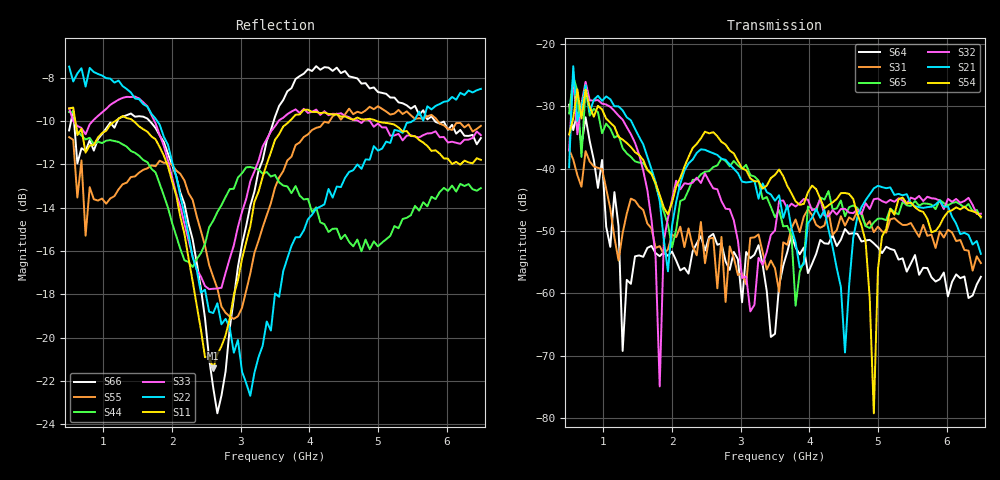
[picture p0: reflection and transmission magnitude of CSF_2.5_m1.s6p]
!Keysight Technologies,M9804A,MY58100912,A.14.10.03
!Date: Thursday, April 27, 2023 10:28:33
!Correction: S11(C  6-Port  )
!S12(C  6-Port  )
!S13(C  6-Port  )
!S14(C  6-Port  )
!S15(C  6-Port  )
!S16(C  6-Port  )
!S21(C  6-Port  )
!S22(C  6-Port  )
!S23(C  6-Port  )
!S24(C  6-Port  )
!S25(C  6-Port  )
!S26(C  6-Port  )
!S31(C  6-Port  )
!S32(C  6-Port  )
!S33(C  6-Port  )
!S34(C  6-Port  )
!S35(C  6-Port  )
!S36(C  6-Port  )
!S41(C  6-Port  )
!S42(C  6-Port  )
!S43(C  6-Port  )
!S44(C  6-Port  )
!S45(C  6-Port  )
!S46(C  6-Port  )
!S51(C  6-Port  )
!S52(C  6-Port  )
!S53(C  6-Port  )
!S54(C  6-Port  )
!S55(C  6-Port  )
!S56(C  6-Port  )
!S61(C  6-Port  )
!S62(C  6-Port  )
!S63(C  6-Port  )
!S64(C  6-Port  )
!S65(C  6-Port  )
!S66(C  6-Port  )
!S6P File: Measurement: :
# Hz S  RI  R 50
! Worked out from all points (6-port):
!   101 points, 500 MHz to 6.5 GHz, reference 50 ohm
!   strongest paths, dB at 500 MHz, 2 GHz, 3.5 GHz, 5 GHz, 6.5 GHz:
!     S54: -34.5, -45.4, -41.0, -56.1, -47.7
!     S21: -39.8, -49.1, -45.1, -42.8, -53.7
!     S32: -37.1, -44.9, -49.9, -44.8, -47.2
!     S65: -31.1, -52.6, -47.8, -48.0, -47.9
!     S31: -36.9, -50.6, -56.0, -49.3, -55.1
!     S64: -29.8, -53.3, -66.5, -52.6, -57.3
!   lowest |S11| = -21.4 dB at 2.6 GHz (marker M1), VSWR 1.19, Z = 42.5 + j2.22 ohm
!   |S11| at or under -10 dB: 589.4 MHz to 1.174 GHz (584.3 MHz wide, 66.3 % of centre); 1.436 GHz to 3.714 GHz (2.278 GHz wide, 88.5 % of centre); 4.982 GHz to end of sweep
